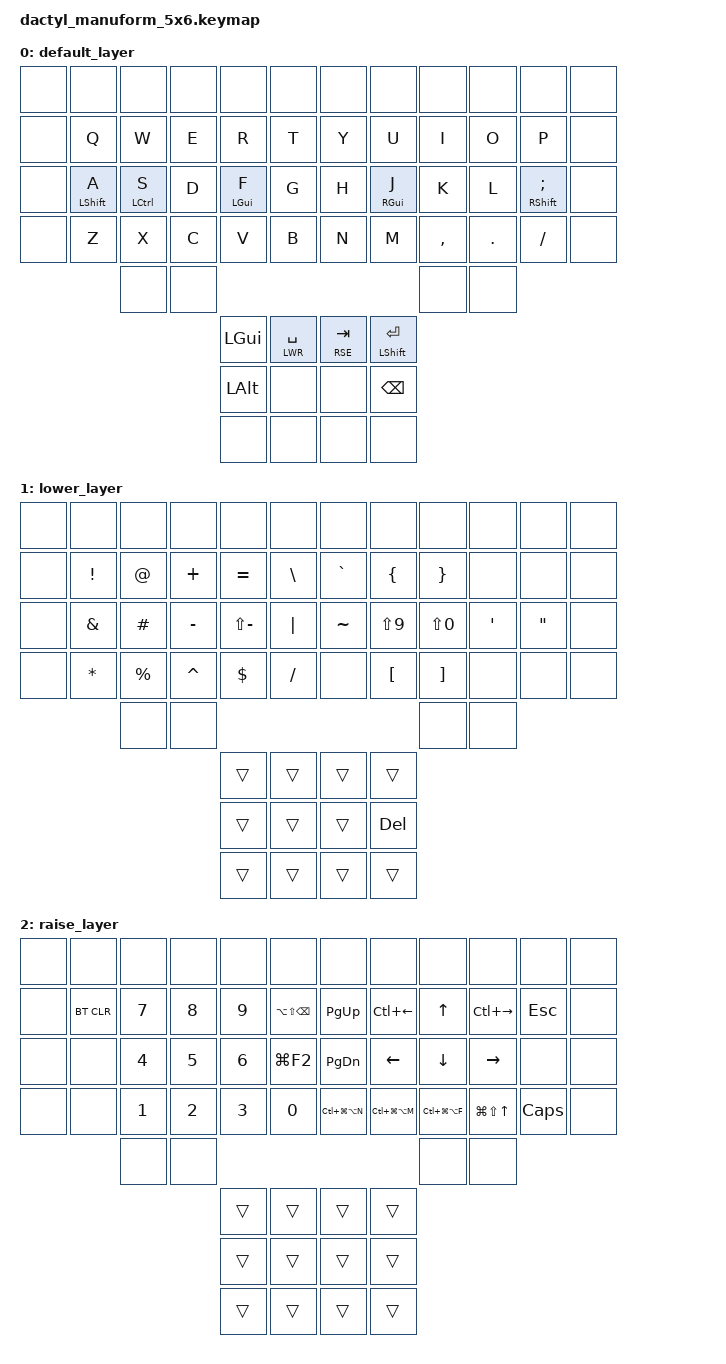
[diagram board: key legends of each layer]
#include <behaviors.dtsi>
#include <dt-bindings/zmk/keys.h>
#include <dt-bindings/zmk/bt.h>
#include <dt-bindings/zmk/outputs.h>

#define DEFAULT 0
#define LWR 1
#define RSE 2

#define FLLSCRN LC(LG(LA(F)))
#define NXTSCRN LC(LG(LA(N)))
#define MXSCRN LC(LG(LA(M)))
#define DLTROW LA(LS(BSPC))
#define RPLACE LG(F2)

/ {
    behaviors {
        ht_hld: behavior_hold_tap_hold_preferred {
            compatible = "zmk,behavior-hold-tap";
            label = "HOLD_TAP_HOLD_PREFERRED";
            #binding-cells = <2>;
            flavor = "hold-preferred";
            tapping-term-ms = <200>;
            bindings = <&mo>, <&kp>;
        };

        bhm: balanced_homerow_mods {
            compatible = "zmk,behavior-hold-tap";
            label = "HOMEROW_MODS";
            #binding-cells = <2>;
            tapping-term-ms = <200>;    // <---[[moderate duration]]
            quick-tap-ms = <0>;
            flavor = "balanced";
            bindings = <&kp>, <&kp>;
        };
    };

    keymap {
        compatible = "zmk,keymap";

        default_layer {
            bindings = <
                &none   &none         &none        &none &none       &none                   &none           &none         &none     &none   &none            &none
                &none   &kp Q         &kp W        &kp E &kp R       &kp T                   &kp Y           &kp U         &kp I     &kp O   &kp P            &none
                &none   &bhm LSHIFT A &bhm LCTRL S &kp D &bhm LGUI F &kp G                   &kp H           &bhm RGUI J   &kp K     &kp L   &bhm RSHIFT SEMI &none
                &none   &kp Z         &kp X        &kp C &kp V       &kp B                   &kp N           &kp M         &kp COMMA &kp DOT &kp FSLH         &none
                                      &none        &none                                                                   &none     &none
                                                         &kp LGUI    &lt LWR SPACE           &ht_hld RSE TAB &mt LSHFT RET
                                                         &kp LALT    &none                   &none           &kp BSPC
                                                         &none       &none                   &none           &none
            >;
        };

        lower_layer {
            bindings = <
                &none     &none    &none     &none     &none         &none                   &none       &none         &none       &none          &none    &none
                &none     &kp EXCL &kp AT    &kp PLUS  &kp EQUAL     &kp BSLH                &kp GRAVE   &kp LBRC      &kp RBRC    &none          &none    &none
                &none     &kp AMPS &kp HASH  &kp MINUS &kp LS(MINUS) &kp PIPE                &kp TILDE   &kp LS(N9)    &kp LS(N0)  &kp SQT        &kp DQT  &none
                &none     &kp STAR &kp PRCNT &kp CARET &kp DLLR      &kp FSLH                &none       &kp LBKT      &kp RBKT    &none          &none    &none
                                   &none     &none                                                                     &none       &none
                                                       &trans        &trans                  &trans      &trans
                                                       &trans        &trans                  &trans      &kp DEL
                                                       &trans        &trans                  &trans      &trans
            >;
        };

        raise_layer {
            bindings = <
                &none &none      &none     &none     &none         &none                   &none       &none         &none       &none          &none    &none
                &none &bt BT_CLR &kp N7    &kp N8    &kp N9        &kp DLTROW              &kp PG_UP   &kp LC(LEFT)  &kp UP      &kp LC(RIGHT)  &kp ESC  &none
                &none &none      &kp N4    &kp N5    &kp N6        &kp RPLACE              &kp PG_DN   &kp LEFT      &kp DOWN    &kp RIGHT      &none    &none
                &none &none      &kp N1    &kp N2    &kp N3        &kp N0                  &kp NXTSCRN &kp MXSCRN    &kp FLLSCRN &kp LG(LS(UP)) &kp CAPS &none
                                 &none     &none                                                                     &none       &none
                                                        &trans        &trans                  &trans      &trans
                                                        &trans        &trans                  &trans      &trans
                                                        &trans        &trans                  &trans      &trans
            >;
        };
    };
};
